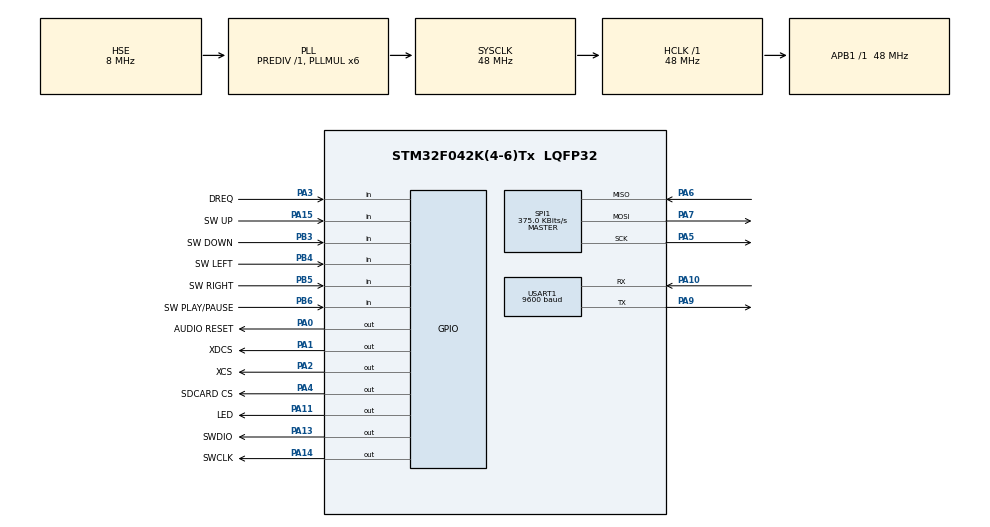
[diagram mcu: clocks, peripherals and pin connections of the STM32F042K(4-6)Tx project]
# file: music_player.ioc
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Mcu.Family=STM32F0
Mcu.Name=STM32F042K(4-6)Tx
Mcu.Package=LQFP32
NVIC.TIM14_IRQn=true\:0\:0\:false\:false\:true\:true\:true
PA0.GPIO_Label=AUDIO RESET
PA0.PinState=GPIO_PIN_RESET
PA0.Signal=GPIO_Output
PA1.GPIO_Label=XDCS
PA1.PinState=GPIO_PIN_SET
PA1.Signal=GPIO_Output
PA10.Mode=Asynchronous
PA10.Signal=USART1_RX
PA11.GPIO_Label=LED
PA11.GPIO_PuPd=GPIO_PULLUP
PA11.PinState=GPIO_PIN_SET
PA11.Signal=GPIO_Output
PA13.GPIO_Label=SWDIO
PA13.Signal=GPIO_Output
PA14.GPIO_Label=SWCLK
PA14.Signal=GPIO_Output
PA15.GPIO_Label=SW UP
PA15.Signal=GPIO_Input
PA2.GPIO_Label=XCS
PA2.PinState=GPIO_PIN_SET
PA2.Signal=GPIO_Output
PA3.GPIO_Label=DREQ
PA3.Signal=GPIO_Input
PA4.GPIO_Label=SDCARD CS
PA4.PinState=GPIO_PIN_SET
PA4.Signal=GPIO_Output
PA5.GPIO_Mode=GPIO_MODE_AF_PP
PA5.GPIO_Speed=GPIO_SPEED_FREQ_HIGH
PA5.Mode=Full_Duplex_Master
PA5.Signal=SPI1_SCK
PA6.GPIO_Mode=GPIO_MODE_AF_PP
PA6.GPIO_PuPd=GPIO_NOPULL
PA6.GPIO_Speed=GPIO_SPEED_FREQ_HIGH
PA6.Mode=Full_Duplex_Master
PA6.Signal=SPI1_MISO
PA7.GPIO_Speed=GPIO_SPEED_FREQ_HIGH
PA7.Mode=Full_Duplex_Master
PA7.Signal=SPI1_MOSI
PA9.Mode=Asynchronous
PA9.Signal=USART1_TX
PB3.GPIO_Label=SW DOWN
PB3.Signal=GPIO_Input
PB4.GPIO_Label=SW LEFT
PB4.Signal=GPIO_Input
PB5.GPIO_Label=SW RIGHT
PB5.Signal=GPIO_Input
PB6.GPIO_Label=SW PLAY/PAUSE
PB6.Signal=GPIO_Input
PF0-OSC_IN.Mode=HSE-External-Oscillator
PF0-OSC_IN.Signal=RCC_OSC_IN
PF1-OSC_OUT.Mode=HSE-External-Oscillator
PF1-OSC_OUT.Signal=RCC_OSC_OUT
ProjectManager.HeapSize=0x200
ProjectManager.StackSize=0x400
ProjectManager.TargetToolchain=Makefile
RCC.AHBFreq_Value=48000000
RCC.APB1Freq_Value=48000000
RCC.APB1TimFreq_Value=48000000
RCC.HCLKFreq_Value=48000000
RCC.PLLMUL=RCC_PLL_MUL6
RCC.PLLSourceVirtual=RCC_PLLSOURCE_HSE
RCC.SYSCLKFreq_VALUE=48000000
RCC.SYSCLKSource=RCC_SYSCLKSOURCE_PLLCLK
SPI1.BaudRatePrescaler=SPI_BAUDRATEPRESCALER_128
SPI1.CLKPhase=SPI_PHASE_1EDGE
SPI1.CLKPolarity=SPI_POLARITY_LOW
SPI1.CRCCalculation=SPI_CRCCALCULATION_DISABLE
SPI1.CalculateBaudRate=375.0 KBits/s
SPI1.DataSize=SPI_DATASIZE_8BIT
SPI1.Direction=SPI_DIRECTION_2LINES
SPI1.Mode=SPI_MODE_MASTER
SPI1.NSSPMode=SPI_NSS_PULSE_DISABLE
SPI1.VirtualType=VM_MASTER
TIM14.AutoReloadPreload=TIM_AUTORELOAD_PRELOAD_ENABLE
TIM14.Period=1000
TIM14.Prescaler=48
USART1.BaudRate=9600
USART1.VirtualMode-Asynchronous=VM_ASYNC
VP_RTC_VS_RTC_Activate.Mode=RTC_Enabled
VP_TIM14_VS_ClockSourceINT.Mode=Enable_Timer
board=custom

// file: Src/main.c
/* USER CODE BEGIN Header */
/**
  ******************************************************************************
  * @file           : main.c
  * @brief          : Main program body
  ******************************************************************************
  * @attention
  *
  * <h2><center>&copy; Copyright (c) 2019 STMicroelectronics.
  * All rights reserved.</center></h2>
  *
  * This software component is licensed by ST under BSD 3-Clause license,
  * the "License"; You may not use this file except in compliance with the
  * License. You may obtain a copy of the License at:
  *                        opensource.org/licenses/BSD-3-Clause
  *
  ******************************************************************************
  */
/* USER CODE END Header */

#include "main.h"
#include "rtc.h"
#include "spi.h"
#include "tim.h"
#include "usart.h"
#include "gpio.h"

/* USER CODE BEGIN Includes */
#include "input.hpp"
#include "Timer.hpp"
#include "UARTOut.hpp"
#include "petit_fs/PetitFs.hpp"
#include "MusicPlayer.hpp"
/* USER CODE END Includes */

/* USER CODE BEGIN PV */
/* Private variables ---------------------------------------------------------*/
static UI g_UI;
volatile static uint32_t g_Timer_10ms = 0;
volatile static uint32_t g_Timer_1s = 0;
/* USER CODE END PV */

void SystemClock_Config(void);
/* USER CODE BEGIN PFP */
/* Private function prototypes -----------------------------------------------*/
/* USER CODE END PFP */

/* USER CODE BEGIN 0 */

void HAL_TIM_PeriodElapsedCallback(TIM_HandleTypeDef *htim)
{
    if (htim == &htim14)
    {
        ++g_Timer_10ms;
        ++g_Timer_1s;
        TimerManager::Instance().UpdateMsTimers();
    }
}

void PrintFsResult( FRESULT result )
{
	switch( result ){
	case FR_OK:
		exlib::sout << "FR_OK\n";
		break;
	case FR_DISK_ERR:
		exlib::sout << "FR_DISK_ERR\n";
		break;
	case FR_NOT_READY:
		exlib::sout << "FR_NOT_READY\n";
		break;
	case FR_NO_FILE:
		exlib::sout << "FR_NO_FILE\n";
		break;
	case FR_NOT_OPENED:
		exlib::sout << "FR_NOT_OPENED\n";
		break;
	case FR_NOT_ENABLED:
		exlib::sout << "FR_NOT_ENABLED\n";
		break;
	case FR_NO_FILESYSTEM:
		exlib::sout << "FR_NO_FILESYSTEM\n";
		break;
	default:
		exlib::sout << "It Must be BUG!!!\n";
		break;
	}
}

/* USER CODE END 0 */

int main(void)
{

  /* MCU Configuration--------------------------------------------------------*/

  /* Reset of all peripherals, Initializes the Flash interface and the Systick. */
  HAL_Init();

  /* Configure the system clock */
  SystemClock_Config();

  /* Initialize all configured peripherals */
  MX_GPIO_Init();
  MX_RTC_Init();
  MX_SPI1_Init();
  MX_TIM14_Init();
  MX_USART1_UART_Init();
  /* USER CODE BEGIN 2 */
    HAL_TIM_Base_Start_IT(&htim14);

    petitfs::FileSys& fs = petitfs::FileSys::Instance();
    FRESULT result = fs.Mount();
    PrintFsResult( result );
    if( result == FR_OK ){
        exlib::sout << "SDCard Initialization complete!\n";
    }
    else {
        exlib::sout << "SDCard Initialization failed.\n";
    }

    MusicPlayer music_player( "/" );
    music_player.Start();

    SPI1_Init_Fast();
    HAL_GPIO_WritePin(LED_GPIO_Port, LED_Pin, GPIO_PIN_RESET);

  /* USER CODE END 2 */

  /* Infinite loop */
  /* USER CODE BEGIN WHILE */
    while (1)
    {
        music_player.Update();

        if (g_Timer_10ms >= 10)
        {
            g_UI.update();
            g_Timer_10ms = 0;
        }
        if( g_Timer_1s >= 1000 )
        {
            //music_player.ShowStatus();
            g_Timer_1s = 0;
        }

        if( g_UI.playPause_SW_Up() ){
            exlib::sout << "PauseResumeCall\n";
            music_player.PauseResume();
        }
        if( g_UI.down_SW_Up() ){
            music_player.VolumeDown();
        }
        if( g_UI.up_SW_Up() ){
            music_player.VolumeUp();
        }
        if( g_UI.right_SW_Up() ){
            music_player.NextFile();
        }

    /* USER CODE END WHILE */

    }
}

void SystemClock_Config(void)
{
  RCC_OscInitTypeDef RCC_OscInitStruct = {0};
  RCC_ClkInitTypeDef RCC_ClkInitStruct = {0};
  RCC_PeriphCLKInitTypeDef PeriphClkInit = {0};

  /** Initializes the CPU, AHB and APB busses clocks
  */
  RCC_OscInitStruct.OscillatorType = RCC_OSCILLATORTYPE_LSI|RCC_OSCILLATORTYPE_HSE;
  RCC_OscInitStruct.HSEState = RCC_HSE_ON;
  RCC_OscInitStruct.LSIState = RCC_LSI_ON;
  RCC_OscInitStruct.PLL.PLLState = RCC_PLL_ON;
  RCC_OscInitStruct.PLL.PLLSource = RCC_PLLSOURCE_HSE;
  RCC_OscInitStruct.PLL.PLLMUL = RCC_PLL_MUL6;
  RCC_OscInitStruct.PLL.PREDIV = RCC_PREDIV_DIV1;
  if (HAL_RCC_OscConfig(&RCC_OscInitStruct) != HAL_OK)
  {
    Error_Handler();
  }
  /** Initializes the CPU, AHB and APB busses clocks
  */
  RCC_ClkInitStruct.ClockType = RCC_CLOCKTYPE_HCLK|RCC_CLOCKTYPE_SYSCLK
                              |RCC_CLOCKTYPE_PCLK1;
  RCC_ClkInitStruct.SYSCLKSource = RCC_SYSCLKSOURCE_PLLCLK;
  RCC_ClkInitStruct.AHBCLKDivider = RCC_SYSCLK_DIV1;
  RCC_ClkInitStruct.APB1CLKDivider = RCC_HCLK_DIV1;

  if (HAL_RCC_ClockConfig(&RCC_ClkInitStruct, FLASH_LATENCY_1) != HAL_OK)
  {
    Error_Handler();
  }
  PeriphClkInit.PeriphClockSelection = RCC_PERIPHCLK_USART1|RCC_PERIPHCLK_RTC;
  PeriphClkInit.Usart1ClockSelection = RCC_USART1CLKSOURCE_PCLK1;
  PeriphClkInit.RTCClockSelection = RCC_RTCCLKSOURCE_LSI;
  if (HAL_RCCEx_PeriphCLKConfig(&PeriphClkInit) != HAL_OK)
  {
    Error_Handler();
  }
}

void Error_Handler(void)
{
    while (1)
    {
    }
}

/************************ (C) COPYRIGHT STMicroelectronics *****END OF FILE****/
